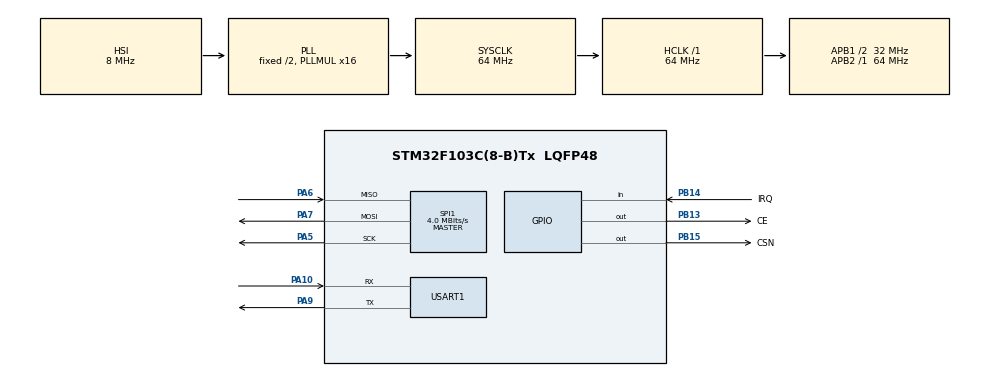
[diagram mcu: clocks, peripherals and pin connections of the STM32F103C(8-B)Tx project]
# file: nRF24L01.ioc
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Dma.Request0=USART1_TX
Dma.USART1_TX.0.Direction=DMA_MEMORY_TO_PERIPH
Dma.USART1_TX.0.Instance=DMA1_Channel4
Dma.USART1_TX.0.MemDataAlignment=DMA_MDATAALIGN_BYTE
Dma.USART1_TX.0.MemInc=DMA_MINC_ENABLE
Dma.USART1_TX.0.Mode=DMA_NORMAL
Dma.USART1_TX.0.PeriphDataAlignment=DMA_PDATAALIGN_BYTE
Dma.USART1_TX.0.PeriphInc=DMA_PINC_DISABLE
Dma.USART1_TX.0.Priority=DMA_PRIORITY_LOW
Mcu.Family=STM32F1
Mcu.Name=STM32F103C(8-B)Tx
Mcu.Package=LQFP48
NVIC.DMA1_Channel4_IRQn=true\:0\:0\:false\:false\:true
NVIC.PriorityGroup=NVIC_PRIORITYGROUP_4
NVIC.USART1_IRQn=true\:0\:0\:false\:false\:true
PA10.Mode=Asynchronous
PA10.Signal=USART1_RX
PA5.Mode=Full_Duplex_Master
PA5.Signal=SPI1_SCK
PA6.Mode=Full_Duplex_Master
PA6.Signal=SPI1_MISO
PA7.Mode=Full_Duplex_Master
PA7.Signal=SPI1_MOSI
PA9.Mode=Asynchronous
PA9.Signal=USART1_TX
PB13.GPIO_Label=CE
PB13.Signal=GPIO_Output
PB14.GPIO_Label=IRQ
PB14.GPIO_PuPd=GPIO_PULLUP
PB14.Signal=GPIO_Input
PB15.GPIO_Label=CSN
PB15.Signal=GPIO_Output
ProjectManager.HeapSize=0x200
ProjectManager.StackSize=0x400
ProjectManager.TargetToolchain=SW4STM32
RCC.AHBFreq_Value=64000000
RCC.APB1CLKDivider=RCC_HCLK_DIV2
RCC.APB1Freq_Value=32000000
RCC.APB1TimFreq_Value=64000000
RCC.APB2Freq_Value=64000000
RCC.APB2TimFreq_Value=64000000
RCC.HCLKFreq_Value=64000000
RCC.PLLMUL=RCC_PLL_MUL16
RCC.SYSCLKFreq_VALUE=64000000
RCC.SYSCLKSource=RCC_SYSCLKSOURCE_PLLCLK
RCC.USBFreq_Value=64000000
SPI1.BaudRatePrescaler=SPI_BAUDRATEPRESCALER_16
SPI1.CalculateBaudRate=4.0 MBits/s
SPI1.Mode=SPI_MODE_MASTER
board=nRF24L01

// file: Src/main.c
/**
  ******************************************************************************
  * File Name          : main.c
  * Description        : Main program body
  * Creater            : Baranov Mikhail boring@list.ru
  ******************************************************************************
  *
  * COPYRIGHT(c) 2017 STMicroelectronics
  *
  * Redistribution and use in source and binary forms, with or without modification,
  * are permitted provided that the following conditions are met:
  *   1. Redistributions of source code must retain the above copyright notice,
  *      this list of conditions and the following disclaimer.
  *   2. Redistributions in binary form must reproduce the above copyright notice,
  *      this list of conditions and the following disclaimer in the documentation
  *      and/or other materials provided with the distribution.
  *   3. Neither the name of STMicroelectronics nor the names of its contributors
  *      may be used to endorse or promote products derived from this software
  *      without specific prior written permission.
  *
  * THIS SOFTWARE IS PROVIDED BY THE COPYRIGHT HOLDERS AND CONTRIBUTORS "AS IS"
  * AND ANY EXPRESS OR IMPLIED WARRANTIES, INCLUDING, BUT NOT LIMITED TO, THE
  * IMPLIED WARRANTIES OF MERCHANTABILITY AND FITNESS FOR A PARTICULAR PURPOSE ARE
  * DISCLAIMED. IN NO EVENT SHALL THE COPYRIGHT HOLDER OR CONTRIBUTORS BE LIABLE
  * FOR ANY DIRECT, INDIRECT, INCIDENTAL, SPECIAL, EXEMPLARY, OR CONSEQUENTIAL
  * DAMAGES (INCLUDING, BUT NOT LIMITED TO, PROCUREMENT OF SUBSTITUTE GOODS OR
  * SERVICES; LOSS OF USE, DATA, OR PROFITS; OR BUSINESS INTERRUPTION) HOWEVER
  * CAUSED AND ON ANY THEORY OF LIABILITY, WHETHER IN CONTRACT, STRICT LIABILITY,
  * OR TORT (INCLUDING NEGLIGENCE OR OTHERWISE) ARISING IN ANY WAY OUT OF THE USE
  * OF THIS SOFTWARE, EVEN IF ADVISED OF THE POSSIBILITY OF SUCH DAMAGE.
  *
  ******************************************************************************
  */
#include "stm32f1xx_hal.h"

/* USER CODE BEGIN Includes */

#include "nRF24.h";
#include "main.h";

/* USER CODE END Includes */

SPI_HandleTypeDef hspi1;

UART_HandleTypeDef huart1;
DMA_HandleTypeDef hdma_usart1_tx;

/* USER CODE BEGIN PV */
/* Private variables ---------------------------------------------------------*/

/* USER CODE END PV */

void SystemClock_Config(void);
static void MX_GPIO_Init(void);
static void MX_DMA_Init(void);
static void MX_SPI1_Init(void);
static void MX_USART1_UART_Init(void);

/* USER CODE BEGIN PFP */
/* Private function prototypes -----------------------------------------------*/

volatile int timer_ms;

/* USER CODE END PFP */

/* USER CODE BEGIN 0 */

void     HAL_SYSTICK_Callback(void)
{
	timer_ms++;
}

#include <stdarg.h>

void Printf(const char *fmt, ...)
{
	static char buf[256];
	char *p;
	va_list lst;

	va_start(lst, fmt);
	vsprintf(buf, fmt, lst);
	va_end(lst);

	p = buf;
	while(*p) {
		HAL_UART_Transmit(&huart1, (unsigned char *)p, 1, 500);
		p++;
	}
}

#define	RX_DR			0x40
#define	TX_DS			0x20
#define	MAX_RT			0x10

#define TX_PLOAD_WIDTH 32

unsigned char TX_ADDRESS[TX_ADR_WIDTH] = {0xb2,0xb2,0xb3,0xb4,0x01};
unsigned char RX_BUF[TX_PLOAD_WIDTH];
unsigned char TX_BUF[TX_PLOAD_WIDTH];

#define CE(x) HAL_GPIO_WritePin(GPIOB, CE_Pin, x)
#define CSN(x) HAL_GPIO_WritePin(GPIOB, CSN_Pin, x)
#define IRQ HAL_GPIO_ReadPin(GPIOB, IRQ_Pin)

unsigned char SPI_Receive_byte(unsigned char reg)
{
	HAL_SPI_TransmitReceive(&hspi1, &reg, &reg, 1, 100);
   return reg;
}

unsigned char SPI_Send_byte(unsigned char reg)
{
	HAL_SPI_Transmit(&hspi1, &reg, 1, 100);
   return reg;
}

unsigned char  SPI_Write_Buf(unsigned char  reg, unsigned char  *pBuf, unsigned char  bytes)
{
	unsigned char  status,byte_ctr;
	CSN(0);
	status= SPI_Receive_byte(reg);
	HAL_Delay(10); //delayMicroseconds(10);//delay1us(1);
	for(byte_ctr=0;byte_ctr<bytes;byte_ctr++)
		SPI_Send_byte(*pBuf++);
	CSN(1);
	return(status);
}

unsigned char SPI_Read_Buf(unsigned char reg, unsigned char *pBuf, unsigned char bytes)
{
	unsigned char status;//,byte_ctr;
	CSN(0);
	status=SPI_Receive_byte(reg);
	unsigned char * bufer[32];
	HAL_SPI_TransmitReceive(&hspi1, bufer, pBuf, bytes, 100);
	CSN(1);
	return(status);
}

unsigned char SPI_RW_Reg(unsigned char reg, unsigned char value)
{
	unsigned char status;
	CSN(0);
	status=SPI_Receive_byte(reg);   //select register  and write value to it
	SPI_Send_byte(value);
	CSN(1);
	return(status);
}

unsigned char SPI_Read_Reg(unsigned char reg)
{
	unsigned char status;
	CSN(0);
	SPI_Send_byte(reg);
	status=SPI_Receive_byte(0);   //select register  and write value to it
	CSN(1);
	return(status);
}

void TX_Mode(unsigned char * tx_buf)
{
	CE(0);
  	SPI_Write_Buf(WRITE_REG_NRF24L01 + TX_ADDR, TX_ADDRESS, TX_ADR_WIDTH);     // {0xb2,0xb2,0xb3,0xb4,0x01}
  	SPI_Write_Buf(WRITE_REG_NRF24L01 + RX_ADDR_P0, TX_ADDRESS, TX_ADR_WIDTH);  // address 5 byte is {0xb2,0xb2,0xb3,0xb4,0x01} to pipe 0
  	SPI_Write_Buf(WR_TX_PLOAD, tx_buf, TX_PLOAD_WIDTH); 			 // wr payload
  	SPI_RW_Reg(WRITE_REG_NRF24L01 + EN_AA, 0x00);//0x00);//0x3f);       // Enable AA to 1-5 pipe
  	SPI_RW_Reg(WRITE_REG_NRF24L01 + EN_RXADDR, 0x3f);   // Enable rx data to 1-5 pipe
  	SPI_RW_Reg(WRITE_REG_NRF24L01 + SETUP_RETR, 0x0a);  // number retr to error
  	SPI_RW_Reg(WRITE_REG_NRF24L01 + RF_CH, 125);         // work channel
  	SPI_RW_Reg(WRITE_REG_NRF24L01 + RF_SETUP, 0x07);    // no carrier;  no encoder; 1Mbps; 0dbm
	SPI_RW_Reg(WRITE_REG_NRF24L01 + RX_PW_P0, TX_PLOAD_WIDTH);  // num width payload
  	SPI_RW_Reg(WRITE_REG_NRF24L01 + CONFIG, 0x0e);      // Enable CRC; 2byte CRC; Power UP; PTX;
	CE(1);
	//delay(1);//delay1us(10);
}

void RX_Mode(void)
{
	CE(0);
  	SPI_Write_Buf(WRITE_REG_NRF24L01 + RX_ADDR_P0, TX_ADDRESS, TX_ADR_WIDTH);  // address 5 byte is {0xb2,0xb2,0xb3,0xb4,0x01} to pipe 0
  	SPI_RW_Reg(WRITE_REG_NRF24L01 + RX_PW_P0, TX_PLOAD_WIDTH);  //

  	SPI_RW_Reg(WRITE_REG_NRF24L01 + EN_AA, 0x00);//0x00);//0x3f);               // enable ask
  	SPI_RW_Reg(WRITE_REG_NRF24L01 + EN_RXADDR, 0x3f);           // set address rx
  	SPI_RW_Reg(WRITE_REG_NRF24L01 + RF_CH, 125);                 // channel

  	SPI_RW_Reg(WRITE_REG_NRF24L01 + RF_SETUP, 0x07);            // 0dbm 1MBps
  	SPI_RW_Reg(WRITE_REG_NRF24L01 + CONFIG, 0x0f);               // Enable CRC; 2byte CRC; Power UP; PRX;
  	CE(1);
}

void NRF24L01_Receive(void)
{
    unsigned char status=0x01;

	CE(0);
	HAL_Delay(2);//delayMicroseconds(10);//delay1us(10);

	status=SPI_Read_Reg(STATUS);

	if(status & 0x40)
	{
		SPI_RW_Reg(WRITE_REG_NRF24L01 + STATUS, 0x40);

		unsigned char fifo_status = 0;
		do{
			SPI_Read_Buf(RD_RX_PLOAD,RX_BUF,TX_PLOAD_WIDTH);// read receive payload from RX_FIFO buffer

			Printf("RX --");
			Printf("data zerro is: 0x%x\r\n",RX_BUF[0]);
			//int t=0; for (t=0; t<32; t++)printf("0x%x,",RX_BUF[t]); printf("\r\n");

			fifo_status=SPI_Read_Reg(FIFO_STATUS);
		}while((fifo_status&0x1) != 0x1);	//Read all data! (nRF24L01 Can store up to 2 payload data!)
	}
	if(status&TX_DS)
	{
		Printf("data sended INRX\r\n");
		SPI_RW_Reg(WRITE_REG_NRF24L01 + STATUS, 0x20);
	}
	if(status&MAX_RT)
	{
	Printf("NO SEND..INRX\n\r");
		SPI_RW_Reg(WRITE_REG_NRF24L01 + STATUS, 0x10);
	}

	CE(1);

}

void NRF24L01_Send(void)
{
    unsigned char status=0x00;
	// simple payload to send:
	unsigned char bbuuff[32] = {0x33,0x12,0x31,0x54,0x25,0x16,7,8,9,10,11,12,13,14,15,16,17,18,19,20,21,22,23,24,25,26,27,28,29,30,31,32};

	TX_Mode(bbuuff);

	while(IRQ == GPIO_PIN_SET);
}

/* USER CODE END 0 */

int main(void)
{

  /* MCU Configuration----------------------------------------------------------*/

  /* Reset of all peripherals, Initializes the Flash interface and the Systick. */
  HAL_Init();

  /* Configure the system clock */
  SystemClock_Config();

  /* Initialize all configured peripherals */
  MX_GPIO_Init();
  MX_DMA_Init();
  MX_SPI1_Init();
  MX_USART1_UART_Init();

  /* USER CODE BEGIN 2 */

  Printf("Started..\n\r");

  CSN(GPIO_PIN_RESET);
  CE(GPIO_PIN_SET);

  RX_Mode();

  /* USER CODE END 2 */

  /* Infinite loop */
  /* USER CODE BEGIN WHILE */
  while (1)
  {

	  if (IRQ == GPIO_PIN_RESET)
		  {
		  	  NRF24L01_Receive();
		  	  RX_Mode(); // Switch to RX mode
		  }

	  if (timer_ms>1000){
		  if (SPI_Read_Reg(CD) != 0) {continue;}	// If RF line is busy - no send
		  NRF24L01_Send();
		  RX_Mode();		// Switch to RX mode
		  timer_ms=0;
	  }

  /* USER CODE END WHILE */

  }

}

/** System Clock Configuration
*/
void SystemClock_Config(void)
{

  RCC_OscInitTypeDef RCC_OscInitStruct;
  RCC_ClkInitTypeDef RCC_ClkInitStruct;

  RCC_OscInitStruct.OscillatorType = RCC_OSCILLATORTYPE_HSI;
  RCC_OscInitStruct.HSIState = RCC_HSI_ON;
  RCC_OscInitStruct.HSICalibrationValue = 16;
  RCC_OscInitStruct.PLL.PLLState = RCC_PLL_ON;
  RCC_OscInitStruct.PLL.PLLSource = RCC_PLLSOURCE_HSI_DIV2;
  RCC_OscInitStruct.PLL.PLLMUL = RCC_PLL_MUL16;
  HAL_RCC_OscConfig(&RCC_OscInitStruct);

  RCC_ClkInitStruct.ClockType = RCC_CLOCKTYPE_HCLK|RCC_CLOCKTYPE_SYSCLK
                              |RCC_CLOCKTYPE_PCLK1|RCC_CLOCKTYPE_PCLK2;
  RCC_ClkInitStruct.SYSCLKSource = RCC_SYSCLKSOURCE_PLLCLK;
  RCC_ClkInitStruct.AHBCLKDivider = RCC_SYSCLK_DIV1;
  RCC_ClkInitStruct.APB1CLKDivider = RCC_HCLK_DIV2;
  RCC_ClkInitStruct.APB2CLKDivider = RCC_HCLK_DIV1;
  HAL_RCC_ClockConfig(&RCC_ClkInitStruct, FLASH_LATENCY_2);

  HAL_SYSTICK_Config(HAL_RCC_GetHCLKFreq()/1000);

  HAL_SYSTICK_CLKSourceConfig(SYSTICK_CLKSOURCE_HCLK);

  /* SysTick_IRQn interrupt configuration */
  HAL_NVIC_SetPriority(SysTick_IRQn, 0, 0);
}

/* SPI1 init function */
void MX_SPI1_Init(void)
{

  hspi1.Instance = SPI1;
  hspi1.Init.Mode = SPI_MODE_MASTER;
  hspi1.Init.Direction = SPI_DIRECTION_2LINES;
  hspi1.Init.DataSize = SPI_DATASIZE_8BIT;
  hspi1.Init.CLKPolarity = SPI_POLARITY_LOW;
  hspi1.Init.CLKPhase = SPI_PHASE_1EDGE;
  hspi1.Init.NSS = SPI_NSS_SOFT;
  hspi1.Init.BaudRatePrescaler = SPI_BAUDRATEPRESCALER_16;
  hspi1.Init.FirstBit = SPI_FIRSTBIT_MSB;
  hspi1.Init.TIMode = SPI_TIMODE_DISABLE;
  hspi1.Init.CRCCalculation = SPI_CRCCALCULATION_DISABLE;
  hspi1.Init.CRCPolynomial = 10;
  HAL_SPI_Init(&hspi1);

}

/* USART1 init function */
void MX_USART1_UART_Init(void)
{

  huart1.Instance = USART1;
  huart1.Init.BaudRate = 115200;
  huart1.Init.WordLength = UART_WORDLENGTH_8B;
  huart1.Init.StopBits = UART_STOPBITS_1;
  huart1.Init.Parity = UART_PARITY_NONE;
  huart1.Init.Mode = UART_MODE_TX_RX;
  huart1.Init.HwFlowCtl = UART_HWCONTROL_NONE;
  huart1.Init.OverSampling = UART_OVERSAMPLING_16;
  HAL_UART_Init(&huart1);

}

void MX_DMA_Init(void)
{
  /* DMA controller clock enable */
  __HAL_RCC_DMA1_CLK_ENABLE();

  /* DMA interrupt init */
  /* DMA1_Channel4_IRQn interrupt configuration */
  HAL_NVIC_SetPriority(DMA1_Channel4_IRQn, 0, 0);
  HAL_NVIC_EnableIRQ(DMA1_Channel4_IRQn);

}

/** Configure pins as
        * Analog
        * Input
        * Output
        * EVENT_OUT
        * EXTI
*/
void MX_GPIO_Init(void)
{

  GPIO_InitTypeDef GPIO_InitStruct;

  /* GPIO Ports Clock Enable */
  __HAL_RCC_GPIOA_CLK_ENABLE();
  __HAL_RCC_GPIOB_CLK_ENABLE();

  /*Configure GPIO pin Output Level */
  HAL_GPIO_WritePin(GPIOB, CE_Pin|CSN_Pin, GPIO_PIN_RESET);

  /*Configure GPIO pins : CE_Pin CSN_Pin */
  GPIO_InitStruct.Pin = CE_Pin|CSN_Pin;
  GPIO_InitStruct.Mode = GPIO_MODE_OUTPUT_PP;
  GPIO_InitStruct.Speed = GPIO_SPEED_FREQ_LOW;
  HAL_GPIO_Init(GPIOB, &GPIO_InitStruct);

  /*Configure GPIO pin : IRQ_Pin */
  GPIO_InitStruct.Pin = IRQ_Pin;
  GPIO_InitStruct.Mode = GPIO_MODE_INPUT;
  GPIO_InitStruct.Pull = GPIO_PULLUP;
  HAL_GPIO_Init(IRQ_GPIO_Port, &GPIO_InitStruct);

}

/************************ (C) COPYRIGHT STMicroelectronics *****END OF FILE****/
